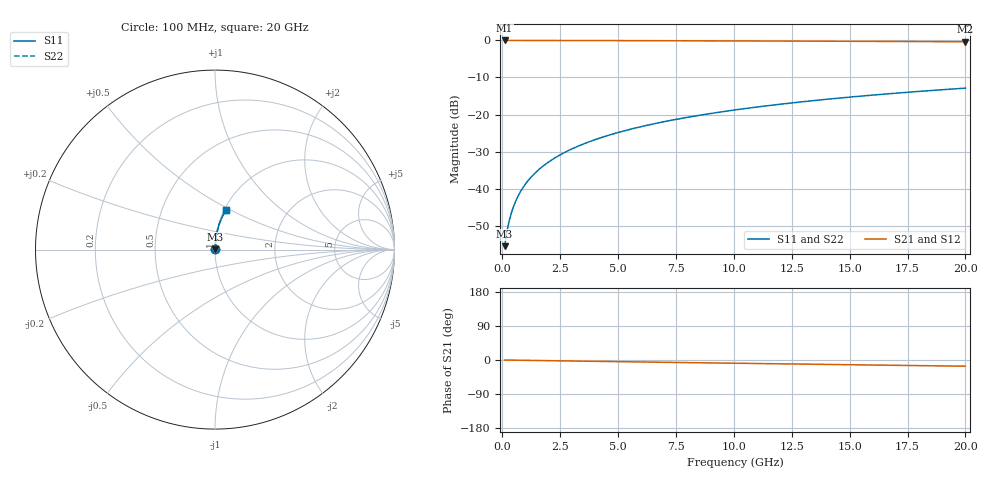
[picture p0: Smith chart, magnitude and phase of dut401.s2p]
! Touchstone file exported from HFSS 2024.1.0
!  File:  C:/UserFiles/LocalFiles/RDL_TSV_Batchsim/temp_RDL_bottom_401_1779682896.aedt
!  Generated:  12:24:15 PM May 25, 2026
!  Design:  RDL_bottom
!  Project:  temp_RDL_bottom_401_1779682896
!  Setup:  Setup1
!  Solution:  Sweep
! Variables:
!  dtsv = 10.80580581um
!  hbump = 3um
!  htsv = 50.78um
!  ldown = 156.37um
!  lrdl = 100um
!  p = 40
!  p1 = 56.05um
!  rhole = 1um
!  t = 450um
!  tdown = 4.65um
!  trdl = 3.915915916um
!  wdown = 10.93um
!  wrdl = 20um
# GHz S MA R 50.000000
! Terminal data exported
! Port[1] = RDL1_T1
! Port[2] = RDL1_T2
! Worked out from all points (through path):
!   200 points, 100 MHz to 20 GHz, reference 50 ohm
!   highest |S21| = -0.01 dB at 100 MHz (marker M1); lowest = -0.4 dB at 20 GHz (marker M2)
!   group delay of S21, straight-line fit = 2.26 ps
!   lowest |S11| = -55.5 dB at 100 MHz (marker M3), VSWR 1.00, Z = 50.1 + j0.117 ohm
!   |S11| at or under -10 dB: start of sweep to end of sweep
!   |S22| runs from -55.5 to -12.9 dB; largest |S21 - S12| = 5.5e-15
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0.1  0.001672 44.2  0.9988 -0.1  0.9988 -0.1  0.001672 44.2
! Gamma 0 0 0 0
! Port Impedance 50 0 50 0
0.2  0.002626 62.4  0.9988 -0.2  0.9988 -0.2  0.002626 62.4
0.3  0.003694 70.3  0.9988 -0.3  0.9988 -0.3  0.003694 70.3
0.4  0.004794 74.6  0.9987 -0.4  0.9987 -0.4  0.004794 74.6
0.5  0.005907 77.3  0.9987 -0.4  0.9987 -0.4  0.005907 77.3
0.6  0.007025 79.2  0.9986 -0.5  0.9986 -0.5  0.007025 79.2
0.8  0.009274 81.5  0.9986 -0.7  0.9986 -0.7  0.009274 81.5
1.1  0.01266 83.4  0.9984 -1.0  0.9984 -1.0  0.01266 83.4
1.5  0.0172 84.6  0.9982 -1.3  0.9982 -1.3  0.0172 84.6
1.8  0.02061 85.2  0.998 -1.6  0.998 -1.6  0.02061 85.2
2.1  0.02402 85.5  0.9978 -1.9  0.9978 -1.9  0.02402 85.5
2.7  0.03086 85.8  0.9973 -2.4  0.9973 -2.4  0.03086 85.8
3.5  0.04 85.8  0.9964 -3.1  0.9964 -3.1  0.04 85.8
4.2  0.04801 85.7  0.9955 -3.7  0.9955 -3.7  0.04801 85.7
5  0.05718 85.4  0.9944 -4.4  0.9944 -4.4  0.05718 85.4
5.9  0.06752 85.0  0.9929 -5.1  0.9929 -5.1  0.06752 85.0
6.8  0.07787 84.5  0.9913 -5.9  0.9913 -5.9  0.07787 84.5
8.3  0.09516 83.5  0.9885 -7.1  0.9885 -7.1  0.09516 83.5
10.1  0.1159 82.3  0.9848 -8.6  0.9848 -8.6  0.1159 82.3
13.4  0.1537 79.9  0.9774 -11.2  0.9774 -11.2  0.1537 79.9
16.7  0.1908 77.3  0.9691 -13.8  0.9691 -13.8  0.1908 77.3
20  0.227 74.8  0.9599 -16.3  0.9599 -16.3  0.227 74.8
